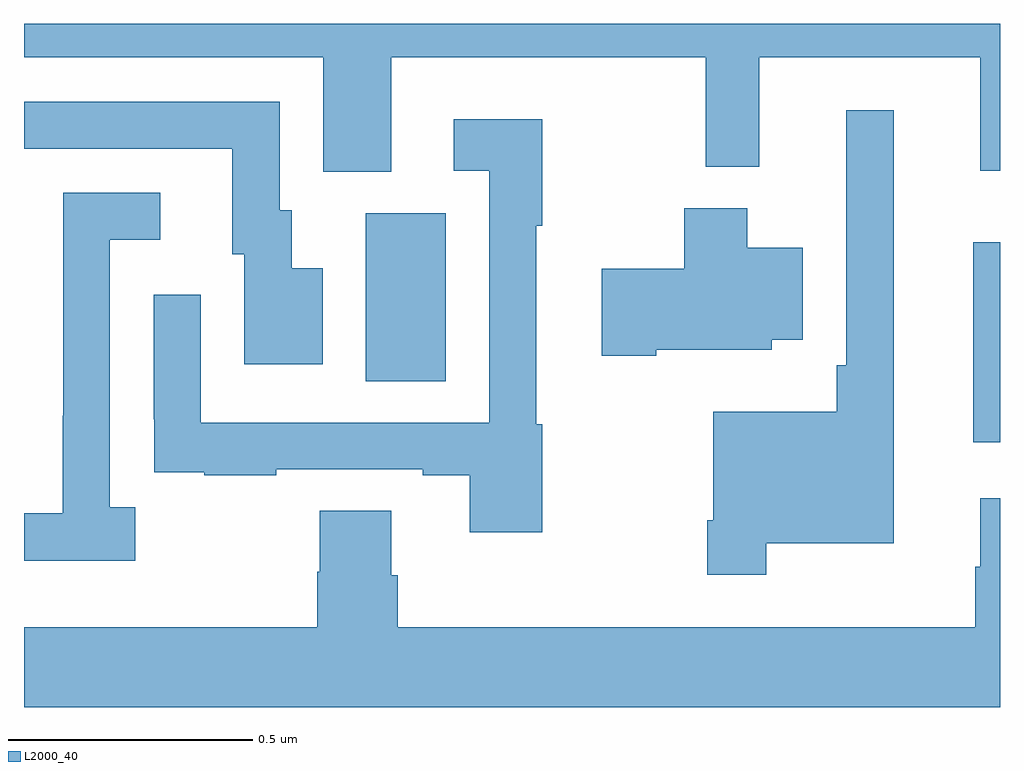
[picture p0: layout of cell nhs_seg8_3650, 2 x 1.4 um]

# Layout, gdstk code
import gdstk
lib = gdstk.Library(unit=1e-6, precision=1e-09)
def R(c, l, rs):  # rectangles x0, y0, x1, y1
    for r in rs: c.add(gdstk.rectangle(r[:2], r[2:], *l))
def P(c, l, *ps):  # polygons
    for p in ps: c.add(gdstk.Polygon(p, *l))
L2000_40 = (2000, 40)

nhs_seg8_3650 = lib.new_cell('nhs_seg8_3650')
R(nhs_seg8_3650, L2000_40, [(161.945,1117.043,162,1117.453), (160.7,1117.168,160.864,1117.512)])
P(nhs_seg8_3650, L2000_40, [(160.753,1117.832),(161.397,1117.832),(161.397,1117.607),(161.507,1117.607),(161.507,1117.832),(161.96,1117.832),(161.96,1117.599),(162,1117.599),(162,1117.9),(160,1117.9),(160,1117.832),(160.613,1117.832),(160.613,1117.597),(160.753,1117.597)],
  [(160.612,1117.399),(160.549,1117.399),(160.549,1117.518),(160.524,1117.518),(160.524,1117.74),(160,1117.74),(160,1117.644),(160.427,1117.644),(160.427,1117.428),(160.451,1117.428),(160.451,1117.203),(160.612,1117.203)],
  [(161.521,1116.836),(161.782,1116.836),(161.782,1117.723),(161.685,1117.723),(161.685,1117.201),(161.665,1117.201),(161.665,1117.105),(161.412,1117.105),(161.412,1116.883),(161.4,1116.883),(161.4,1116.771),(161.521,1116.771)],
  [(161.062,1117.08),(161.05,1117.08),(161.05,1117.486),(161.062,1117.486),(161.062,1117.705),(160.881,1117.705),(160.881,1117.599),(160.953,1117.599),(160.953,1117.083),(160.362,1117.083),(160.362,1117.345),(160.266,1117.345),(160.266,1117.09),(160.267,1117.09),(160.267,1116.981),(160.369,1116.981),(160.369,1116.975),(160.517,1116.975),(160.517,1116.987),(160.817,1116.987),(160.817,1116.975),(160.913,1116.975),(160.913,1116.858),(161.062,1116.858)],
  [(160.228,1116.91),(160.176,1116.91),(160.176,1117.458),(160.279,1117.458),(160.279,1117.554),(160.08,1117.554),(160.08,1117.097),(160.079,1117.097),(160.079,1116.897),(160,1116.897),(160,1116.8),(160.228,1116.8)],
  [(161.296,1117.232),(161.532,1117.232),(161.532,1117.253),(161.596,1117.253),(161.596,1117.441),(161.482,1117.441),(161.482,1117.522),(161.353,1117.522),(161.353,1117.398),(161.184,1117.398),(161.184,1117.22),(161.296,1117.22)],
  [(162,1116.928),(161.96,1116.928),(161.96,1116.788),(161.949,1116.788),(161.949,1116.664),(160.766,1116.664),(160.766,1116.77),(160.753,1116.77),(160.753,1116.902),(160.606,1116.902),(160.606,1116.777),(160.601,1116.777),(160.601,1116.664),(160,1116.664),(160,1116.5),(162,1116.5)])

lib.write_gds('nhs_seg8_3650.gds')
